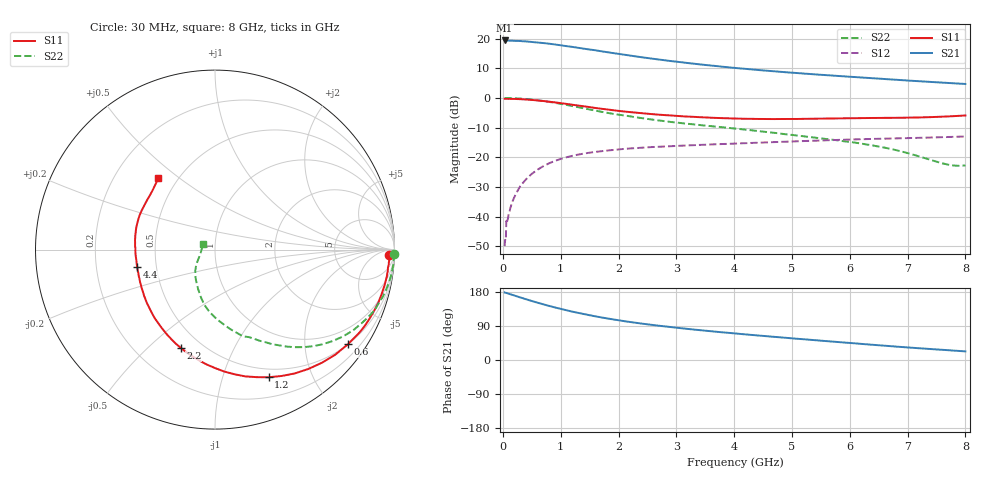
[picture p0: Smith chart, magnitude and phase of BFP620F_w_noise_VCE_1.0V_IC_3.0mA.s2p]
! Infineon Technologies  Discrete & RF Semiconductors
! BFP620F
! VCE =  1.0 V,  IC =  3.0 mA
! Common Emitter S-Parameters:  Dec 2014
# GHz  S  MA  R  50
!  f  S11  S21  S12  S22
! GHz  MAG  ANG  MAG  ANG  MAG  ANG  MAG  ANG
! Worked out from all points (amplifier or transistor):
!   95 points, 30 MHz to 8 GHz, reference 50 ohm
!   highest |S21| = 19.4 dB at 30 MHz (marker M1)
!   |S21| within 3 dB of that: start of sweep to 1.482 GHz
!   unconditionally stable (mu >= 1): 6.106 GHz to end of sweep
!   at 300 MHz: K = 0.05, MSG = 24.5 dB, |S12| = -29.7 dB
!   at 3.3 GHz: K = 0.69, MSG = 13.7 dB, |S12| = -15.9 dB
!   at 8 GHz: K = 1.15, MAG = 6.5 dB, |S12| = -12.9 dB
!   lowest NFmin = 0.51 dB at 450 MHz
!   S11 on the Smith chart (normalised r, x): 30 MHz: 32, -34; 600 MHz: 0.50, -3.06; 1.2 GHz: 0.41, -1.43; 2.2 GHz: 0.39, -0.64; 4.4 GHz: 0.39, -0.09; 8 GHz: 0.39, +0.42
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0.03  0.9713 -1.8  9.319 178.2  0.0032 90.6  0.9985 -1.4
0.05  0.9694 -3.0  9.257 177.3  0.004 91.9  0.9972 -2.3
0.06  0.9726 -3.6  9.242 177.0  0.0085 86.8  0.9972 -2.6
0.1  0.9687 -6.0  9.288 175.0  0.0111 85.3  0.9959 -4.5
0.2  0.9654 -12.0  9.17 170.1  0.0216 85.5  0.9902 -9.0
0.3  0.9568 -18.0  9.127 165.1  0.0327 79.9  0.9789 -13.5
0.4  0.9437 -23.9  8.981 160.4  0.0427 76.8  0.961 -17.9
0.6  0.9093 -35.4  8.602 151.2  0.0622 70.0  0.916 -26.4
0.8  0.8675 -46.6  8.209 142.7  0.0797 63.4  0.8607 -34.3
0.9  0.8442 -52.0  7.977 138.7  0.0873 60.4  0.8297 -37.9
1.2  0.7715 -67.2  7.261 127.7  0.1062 52.5  0.7337 -47.8
1.4  0.7261 -76.6  6.78 121.3  0.1159 48.0  0.6712 -53.6
1.6  0.6801 -85.9  6.367 115.2  0.1239 44.4  0.615 -58.9
1.8  0.6424 -94.0  5.927 109.8  0.1303 41.1  0.5648 -64.0
2.2  0.5796 -109.3  5.192 100.3  0.1415 35.8  0.4916 -73.9
2.7  0.5241 -125.5  4.45 90.4  0.1511 31.2  0.4186 -83.5
3.3  0.482 -142.0  3.786 80.4  0.1607 27.2  0.3597 -93.0
4.1  0.4495 -160.8  3.157 68.9  0.1724 23.3  0.3001 -102.8
4.4  0.4442 -167.3  2.974 64.9  0.1766 22.0  0.279 -106.1
5.4  0.4486 173.4  2.501 52.3  0.1912 17.9  0.2151 -118.4
6.7  0.4634 150.1  2.06 36.6  0.208 12.3  0.1394 -139.1
8  0.5083 128.6  1.725 22.7  0.2253 7.5  0.0731 155.6
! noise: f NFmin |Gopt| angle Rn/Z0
0.45  0.51  0.54  10  0.3
0.9  0.6  0.52  20  0.26
1.5  0.69  0.47  29  0.25
1.8  0.73  0.45  32  0.25
1.9  0.74  0.4  43  0.26
2.4  0.81  0.37  57  0.24
3.5  0.96  0.35  80  0.18
5.5  1.2  0.23  149  0.15
6  1.26  0.19  163  0.29
